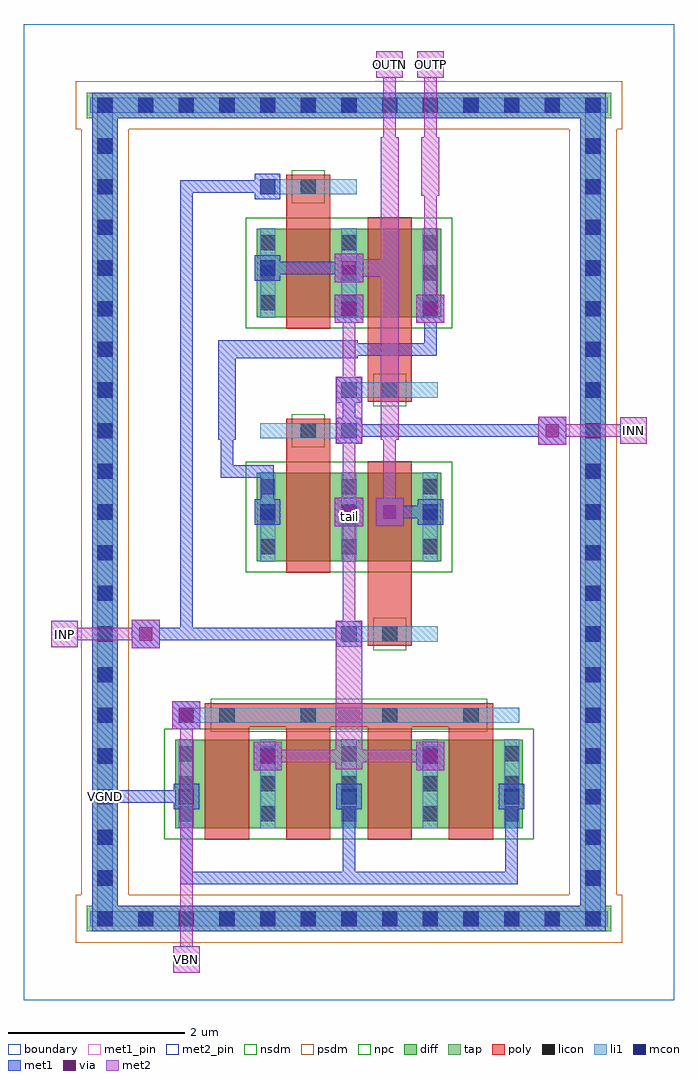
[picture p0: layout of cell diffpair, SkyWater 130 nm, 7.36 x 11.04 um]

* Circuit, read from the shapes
.subckt diffpair INN INP OUTN OUTP VBN VGND tail
XM1 tail VBN VGND VGND sky130_fd_pr__nfet_01v8 w=1 l=0.5 m=4
XM2 tail INN OUTP VGND sky130_fd_pr__nfet_01v8 w=1 l=0.5 m=2
XM3 tail INP OUTN VGND sky130_fd_pr__nfet_01v8 w=1 l=0.5 m=2
.ends

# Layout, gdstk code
import gdstk
lib = gdstk.Library(unit=1e-6, precision=1e-09)
def R(c, l, rs):  # rectangles x0, y0, x1, y1
    for r in rs: c.add(gdstk.rectangle(r[:2], r[2:], *l))
def A(c, l, x, y, w, h, nx, ny, dx, dy):  # array of equal rectangles
    R(c, l, [(x+i*dx, y+j*dy, x+i*dx+w, y+j*dy+h) for i in range(nx) for j in range(ny)])
diff = (65, 20)
tap = (65, 44)
poly = (66, 20)
licon = (66, 44)
li1 = (67, 20)
mcon = (67, 44)
met1_pin = (68, 16)
met1 = (68, 20)
via = (68, 44)
met2_pin = (69, 16)
met2 = (69, 20)
nsdm = (93, 44)
psdm = (94, 20)
npc = (95, 20)
boundary = (235, 4)

diffpair = lib.new_cell('diffpair')
R(diffpair, diff, [(1.715,1.945,5.645,2.945), (2.635,4.965,4.725,5.965), (2.635,7.725,4.725,8.725)])
R(diffpair, tap, [(0.715,0.775,6.645,1.065), (0.775,0.775,1.065,10.265), (6.295,0.775,6.585,10.265), (0.715,9.975,6.645,10.265)])
A(diffpair, poly, 2.05, 1.815, 0.5, 1.405, 4, 1, 0.92, 0)
R(diffpair, poly, [(2.05,3.085,5.31,3.355), (3.89,4.005,4.39,4.275), (3.89,4.14,4.39,6.095), (2.97,4.835,3.47,6.44), (2.97,6.305,3.47,6.575), (3.89,6.765,4.39,7.035), (3.89,6.9,4.39,8.855), (2.97,7.595,3.47,9.2), (2.97,9.065,3.47,9.335)])
A(diffpair, licon, 0.835, 0.835, 0.17, 0.17, 13, 2, 0.46, 9.2)
A(diffpair, licon, 0.835, 1.295, 0.17, 0.17, 1, 19, 0, 0.46)
A(diffpair, licon, 6.355, 1.295, 0.17, 0.17, 1, 19, 0, 0.46)
A(diffpair, licon, 1.755, 2.02, 0.17, 0.17, 5, 3, 0.92, 0.34)
A(diffpair, licon, 2.215, 3.135, 0.17, 0.17, 4, 1, 0.92, 0)
A(diffpair, licon, 2.675, 5.04, 0.17, 0.17, 3, 3, 0.92, 0.34)
A(diffpair, licon, 2.675, 7.8, 0.17, 0.17, 3, 3, 0.92, 0.34)
R(diffpair, licon, [(4.055,4.055,4.225,4.225), (3.135,6.355,3.305,6.525), (4.055,6.815,4.225,6.985), (3.135,9.115,3.305,9.285)])
A(diffpair, li1, 1.755, 1.94, 0.17, 1.01, 5, 1, 0.92, 0)
A(diffpair, li1, 2.675, 4.96, 0.17, 1.01, 3, 2, 0.92, 2.76)
R(diffpair, li1, [(0.755,0.835,6.605,1.005), (0.835,0.835,1.005,10.205), (6.355,0.835,6.525,10.205), (1.755,3.135,5.605,3.305), (3.595,4.055,4.685,4.225), (2.675,6.355,3.765,6.525), (3.595,6.815,4.685,6.985), (2.675,9.115,3.765,9.285), (0.755,10.035,6.605,10.205)])
A(diffpair, mcon, 0.835, 0.835, 0.17, 0.17, 13, 2, 0.46, 9.2)
A(diffpair, mcon, 0.835, 1.295, 0.17, 0.17, 1, 3, 0, 0.46)
A(diffpair, mcon, 6.355, 1.295, 0.17, 0.17, 1, 3, 0, 0.46)
A(diffpair, mcon, 1.755, 2.215, 0.17, 0.17, 3, 1, 1.84, 0)
A(diffpair, mcon, 0.835, 2.675, 0.17, 0.17, 4, 1, 1.84, 0)
A(diffpair, mcon, 0.835, 4.055, 0.17, 0.17, 3, 2, 2.76, 2.3)
A(diffpair, mcon, 0.835, 4.515, 0.17, 0.17, 1, 4, 0, 0.46)
A(diffpair, mcon, 6.355, 4.515, 0.17, 0.17, 1, 4, 0, 0.46)
A(diffpair, mcon, 2.675, 5.435, 0.17, 0.17, 3, 1, 0.92, 0)
A(diffpair, mcon, 0.835, 6.815, 0.17, 0.17, 3, 1, 2.76, 0)
A(diffpair, mcon, 0.835, 7.275, 0.17, 0.17, 1, 6, 0, 0.46)
A(diffpair, mcon, 6.355, 7.275, 0.17, 0.17, 1, 6, 0, 0.46)
R(diffpair, mcon, [(0.835,3.135,1.005,3.305), (1.755,3.135,1.925,3.305), (6.355,3.135,6.525,3.305), (0.835,3.595,1.005,3.765), (6.355,3.595,6.525,3.765), (3.595,7.735,3.765,7.905), (4.515,7.735,4.685,7.905), (2.675,8.195,2.845,8.365), (2.675,9.115,2.845,9.285)])
R(diffpair, met1_pin, [(0.85,2.23,0.99,2.37)])
A(diffpair, met1, 1.77, 1.31, 0.14, 1.06, 3, 1, 1.84, 0)
A(diffpair, met1, 1.695, 2.155, 0.29, 0.29, 3, 1, 1.84, 0)
A(diffpair, met1, 2.615, 5.375, 0.29, 0.29, 3, 1, 0.92, 0)
R(diffpair, met1, [(0.775,0.775,6.585,1.065), (0.775,0.775,1.065,10.265), (6.295,0.775,6.585,10.265), (1.77,1.31,3.75,1.45), (3.61,1.31,5.59,1.45), (0.85,2.23,1.91,2.37), (0.85,2.23,0.99,2.37), (0.85,2.23,0.99,10.19), (2.6,2.6,2.92,2.92), (4.44,2.6,4.76,2.92), (2.615,2.615,2.905,2.905), (4.455,2.615,4.745,2.905), (1.68,3.06,2,3.38), (1.695,3.075,1.985,3.365), (1.22,3.98,1.54,4.3), (3.535,3.995,3.825,4.285), (1.31,4.07,3.75,4.21), (1.77,4.07,1.91,9.27), (3.52,5.36,3.84,5.68), (3.98,5.36,4.3,5.68), (2.69,5.45,2.83,6.05), (4.07,5.45,4.67,5.59), (2.23,5.91,2.37,6.51), (2.23,5.91,2.83,6.05), (5.82,6.28,6.14,6.6), (3.535,6.295,3.825,6.585), (2.2,6.34,2.4,7.46), (3.61,6.37,3.75,6.97), (3.61,6.37,6.05,6.51), (3.535,6.755,3.825,7.045), (2.2,7.26,3.78,7.46), (3.61,7.29,4.67,7.43), (4.53,7.29,4.67,7.89), (3.52,7.66,3.84,7.98), (4.44,7.66,4.76,7.98), (3.535,7.675,3.825,7.965), (4.455,7.675,4.745,7.965), (3.52,8.12,3.84,8.44), (2.615,8.135,2.905,8.425), (2.69,8.21,3.75,8.35), (2.615,9.055,2.905,9.345), (1.77,9.13,2.83,9.27), (0.775,9.975,6.585,10.265), (0.85,10.05,0.99,10.19)])
R(diffpair, via, [(2.685,2.685,2.835,2.835), (4.525,2.685,4.675,2.835), (1.765,3.145,1.915,3.295), (1.305,4.065,1.455,4.215), (3.605,5.445,3.755,5.595), (4.065,5.445,4.215,5.595), (5.905,6.365,6.055,6.515), (3.605,7.745,3.755,7.895), (4.525,7.745,4.675,7.895), (3.605,8.205,3.755,8.355)])
R(diffpair, met2_pin, [(1.69,0.31,1.99,0.61), (0.31,3.99,0.61,4.29), (6.75,6.29,7.05,6.59), (3.99,10.43,4.29,10.73), (4.45,10.43,4.75,10.73)])
R(diffpair, met2, [(1.69,0.31,1.99,0.61), (1.77,0.39,1.91,0.53), (1.77,0.39,1.91,3.29), (2.6,2.6,2.92,2.92), (4.44,2.6,4.76,2.92), (3.53,2.61,3.83,4.29), (2.69,2.69,3.75,2.83), (3.61,2.69,4.67,2.83), (1.68,3.06,2,3.38), (1.22,3.98,1.54,4.3), (0.31,3.99,0.61,4.29), (0.39,4.07,1.45,4.21), (0.39,4.07,0.53,4.21), (3.61,4.07,3.75,5.59), (3.52,5.36,3.84,5.68), (3.98,5.36,4.3,5.68), (3.61,5.45,3.75,6.51), (4.07,5.45,4.21,6.51), (5.82,6.28,6.14,6.6), (3.53,6.29,3.83,7.05), (6.75,6.29,7.05,6.59), (4.04,6.34,4.24,9.76), (5.91,6.37,6.97,6.51), (6.83,6.37,6.97,6.51), (3.61,6.83,3.75,7.89), (3.52,7.66,3.84,7.98), (4.44,7.66,4.76,7.98), (4.53,7.75,4.67,9.27), (3.52,8.12,3.84,8.44), (3.58,8.18,4.24,8.38), (4.5,9.1,4.7,9.76), (4.07,9.59,4.21,10.65), (4.53,9.59,4.67,10.65), (3.99,10.43,4.29,10.73), (4.45,10.43,4.75,10.73), (4.07,10.51,4.21,10.65), (4.53,10.51,4.67,10.65)])
R(diffpair, nsdm, [(1.59,1.82,5.77,3.07), (2.51,4.84,4.85,6.09), (2.51,7.6,4.85,8.85)])
R(diffpair, psdm, [(0.59,0.65,6.77,1.19), (0.65,1.19,1.19,9.85), (6.17,1.19,6.71,9.85), (0.59,9.85,6.77,10.39)])
R(diffpair, npc, [(2.115,3.035,5.245,3.405), (3.955,3.955,4.325,4.325), (3.035,6.255,3.405,6.625), (3.955,6.715,4.325,7.085), (3.035,9.015,3.405,9.385)])
R(diffpair, boundary, [(0,0,7.36,11.04)])
diffpair.add(gdstk.Label('tail', (3.68,5.465), layer=67, texttype=5))
diffpair.add(gdstk.Label('VGND', (0.92,2.3), layer=68, texttype=5))
diffpair.add(gdstk.Label('INP', (0.46,4.14), layer=69, texttype=5))
diffpair.add(gdstk.Label('INN', (6.9,6.44), layer=69, texttype=5))
diffpair.add(gdstk.Label('VBN', (1.84,0.46), layer=69, texttype=5))
diffpair.add(gdstk.Label('OUTP', (4.6,10.58), layer=69, texttype=5))
diffpair.add(gdstk.Label('OUTN', (4.14,10.58), layer=69, texttype=5))
diffpair.add(gdstk.Label('VGND', (0.92,2.3), layer=68, texttype=16))
diffpair.add(gdstk.Label('INP', (0.46,4.14), layer=69, texttype=16))
diffpair.add(gdstk.Label('INN', (6.9,6.44), layer=69, texttype=16))
diffpair.add(gdstk.Label('VBN', (1.84,0.46), layer=69, texttype=16))
diffpair.add(gdstk.Label('OUTP', (4.6,10.58), layer=69, texttype=16))
diffpair.add(gdstk.Label('OUTN', (4.14,10.58), layer=69, texttype=16))

lib.write_gds('diffpair.gds')
